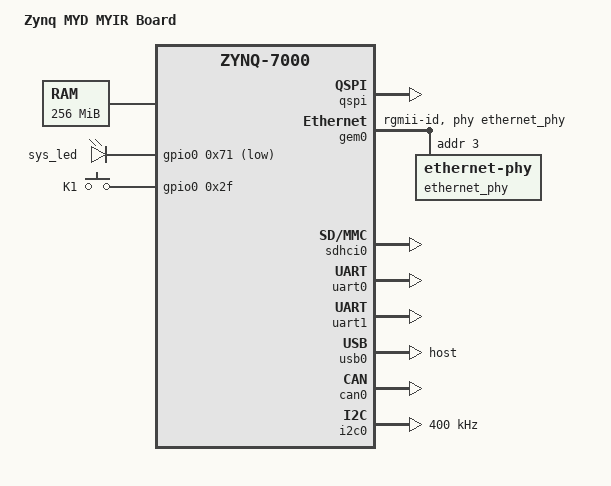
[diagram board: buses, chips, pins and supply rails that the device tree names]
/*
 *  Copyright (C) 2015 Andrea Merello <adnrea.merello@gmail.com>
 *  Copyright (C) 2017 Alexander Graf <agraf@suse.de>
 *
 *  Based on zynq-zed.dts which is:
 *  Copyright (C) 2011 - 2014 Xilinx
 *  Copyright (C) 2012 National Instruments Corp.
 *
 * This software is licensed under the terms of the GNU General Public
 * License version 2, as published by the Free Software Foundation, and
 * may be copied, distributed, and modified under those terms.
 *
 * This program is distributed in the hope that it will be useful,
 * but WITHOUT ANY WARRANTY; without even the implied warranty of
 * MERCHANTABILITY or FITNESS FOR A PARTICULAR PURPOSE.  See the
 * GNU General Public License for more details.
 */
/dts-v1/;
/include/ "zynq-7000.dtsi"

/ {
	model = "Zynq MYD MYIR Board";
	compatible = "myir,zynq-myd", "xlnx,zynq-7000";

	aliases {
		ethernet0 = &gem0;
		serial0 = &uart1;
		serial1 = &uart0;
		spi0 = &qspi;
		mmc0 = &sdhci0;
	};

	memory {
		device_type = "memory";
		reg = <0x0 0x10000000>;
	};

	chosen {
		stdout-path = "serial0:115200n8";
	};

	gpio-leds {
		compatible = "gpio-leds";

		d0 {
			label = "sys_led";
			gpios = <&gpio0 0x71 0x1>;
			default-state = "on";
			linux,default-trigger = "heartbeat";
		};
	};

	gpio-keys {
		compatible = "gpio-keys";
		autorepeat;

		K1 {
			label = "K1";
			gpios = <&gpio0 0x2f 0x0>;
			linux,code = <0x66>;
			gpio-key,wakeup;
			autorepeat;
		};
	};
};

&clkc {
	ps-clk-frequency = <33333333>;
	fclk-enable = <0xf>;
};

&qspi {
    status = "okay";
	#address-cells = <1>;
	#size-cells = <0>;
    is-dual = <0>;
	num-cs = <1>;
};

&gem0 {
	status = "okay";
	phy-mode = "rgmii-id";
	phy-handle = <&ethernet_phy>;

	ethernet_phy: ethernet-phy@0 {
		reg = <0x3>;
	};
};

&sdhci0 {
	u-boot,dm-pre-reloc;
	status = "okay";
};

// &sdhci0 {
// 	status = "okay";
//     u-boot,dm-pre-reloc;
// 	broken-mmc-highspeed;
// 	no-1-8-v;
// };

// &sdhci1 {
//     status = "okay";
//     u-boot,dm-pre-reloc;
// 	no-1-8-v;
//     xlnx,has-wp = <0x1>;
//     broken-cd;
//     wp-inverted;
// };


&uart0 {
	u-boot,dm-pre-reloc;
	status = "okay";
};

&uart1 {
	u-boot,dm-pre-reloc;
	status = "okay";
};

&usb0 {
	status = "okay";
	dr_mode = "host";
};

&can0 {
	status = "okay";
};

&i2c0 {
	status = "okay";
	clock-frequency = <400000>;
};
